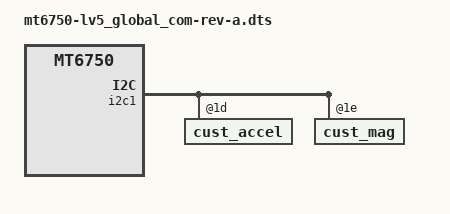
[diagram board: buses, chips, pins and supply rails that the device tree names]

/dts-v1/;

#include "../muse6750_hdk_n_lge.dtsi"

#include "../mt6750-common.dtsi"
#include "mt6750-lv5_global_com-power.dtsi"
#include "mt6750-lv5_global_com-panel.dtsi"
#include "mt6750-lv5_global_com-touch.dtsi"
#include "mt6750-lv5_global_com-sensor.dtsi"
#include "mt6750-lv5_global_com-fingerprint.dtsi"
#include "mt6750-lv5_global_com-misc.dtsi"
#include "mt6750-lv5_global_com-sound.dtsi"
#include "mt6750-lv5_global_com-nfc.dtsi"
#include "mt6750-lv5_global_com-common.dtsi"
#include "mt6750-lv5_global_com-usb.dtsi"
#include "mt6750-lv5_global_com-camera.dtsi"

/ {
	/*
	typedef enum {
		HW_REV_0 = 0,
		HW_REV_0_1,
		HW_REV_A,
		HW_REV_B,
		HW_REV_C,
		HW_REV_D,
		HW_REV_E,
		HW_REV_1_0,
		HW_REV_1_1,
		HW_REV_MAX
	} rev_type;
	*/
	lge,pcb_revision = <0x2>; // rev_a
};

&i2c1 {
	cust_accel@1d {
		direction = <2>;
	};

	cust_mag@1e {
		direction = <2>;
	};
};
